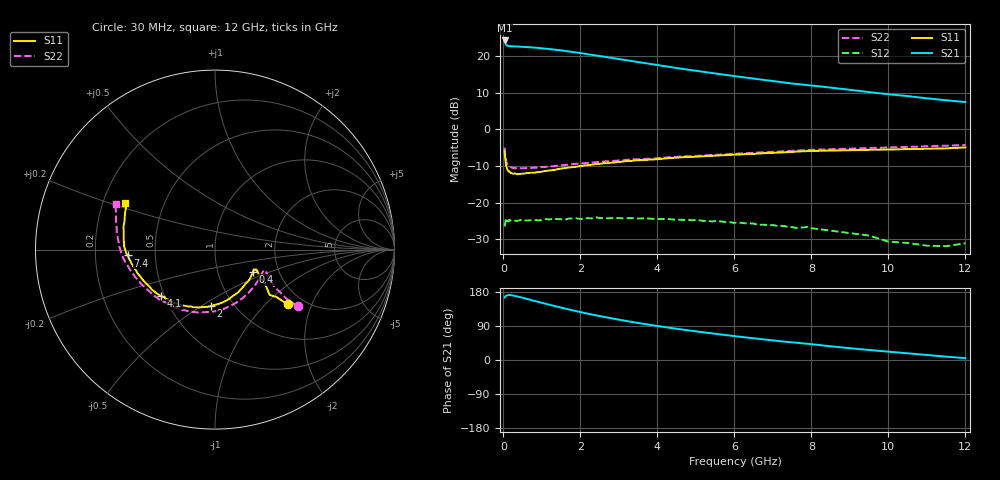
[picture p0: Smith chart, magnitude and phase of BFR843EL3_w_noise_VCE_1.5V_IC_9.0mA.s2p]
! Infineon Technologies  Discrete & RF Semiconductors
! BFR843EL3
! VCE =  1.5 V,  IC =  9.0 mA
! Common Emitter S-Parameters:  Aug 2013
# GHz  S  MA  R  50
!  f  S11  S21  S12  S22
! GHz  MAG  ANG  MAG  ANG  MAG  ANG  MAG  ANG
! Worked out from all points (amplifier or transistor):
!   103 points, 30 MHz to 12 GHz, reference 50 ohm
!   highest |S21| = 24.2 dB at 30 MHz (marker M1)
!   |S21| within 3 dB of that: start of sweep to 1.704 GHz
!   unconditionally stable (mu >= 1): 5.697 GHz to end of sweep
!   at 400 MHz: K = 0.99, MSG = 23.7 dB, |S12| = -24.9 dB
!   at 3.7 GHz: K = 0.84, MSG = 21.1 dB, |S12| = -24.3 dB
!   at 12 GHz: K = 3.23, MAG = 11.3 dB, |S12| = -31.1 dB
!   lowest NFmin = 0.88 dB at 450 MHz
!   S11 on the Smith chart (normalised r, x): 30 MHz: 1.66, -1.36; 400 MHz: 1.48, -0.39; 2 GHz: 0.79, -0.55; 4.1 GHz: 0.48, -0.30; 7.4 GHz: 0.34, -0.03; 12 GHz: 0.29, +0.23
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0.03  0.5065 -37.0  16.2 165.0  0.0473 31.1  0.5601 -34.4
0.04  0.4304 -37.7  15.3 166.2  0.0513 24.6  0.4781 -34.5
0.06  0.3386 -34.3  14.34 168.6  0.0596 18.1  0.3929 -32.4
0.09  0.293 -31.0  13.88 170.5  0.0568 11.5  0.3426 -27.6
0.13  0.2662 -27.7  13.65 171.3  0.0558 7.2  0.3151 -24.2
0.2  0.2528 -25.7  13.51 171.0  0.0567 5.6  0.3031 -22.5
0.4  0.2463 -30.4  13.36 166.7  0.0572 4.0  0.295 -27.0
0.8  0.2554 -47.9  12.95 156.0  0.0581 3.3  0.2987 -43.6
1.2  0.2742 -65.8  12.35 145.7  0.059 1.8  0.3113 -60.5
1.5  0.2912 -77.8  11.87 138.2  0.0593 -0.1  0.3222 -72.0
2  0.3152 -94.2  10.91 126.5  0.0596 -0.1  0.3428 -88.5
2.1  0.3218 -97.2  10.71 124.2  0.0608 0.3  0.3454 -91.9
2.6  0.3436 -110.7  9.766 113.9  0.0614 -1.9  0.3629 -105.1
3.2  0.3672 -123.7  8.711 102.8  0.0613 -4.0  0.3831 -118.4
3.8  0.386 -134.4  7.776 92.8  0.0605 -7.3  0.3978 -129.7
4.1  0.3956 -138.9  7.359 88.3  0.0598 -8.2  0.4063 -134.2
5.1  0.4252 -153.1  6.157 74.2  0.0573 -11.3  0.435 -148.3
6.1  0.4527 -163.8  5.21 61.9  0.0541 -14.5  0.4657 -159.6
7.4  0.4875 -176.2  4.26 47.4  0.0463 -14.6  0.505 -172.2
8.5  0.5124 173.4  3.69 36.2  0.0415 -18.0  0.5347 177.7
10.5  0.5355 159.9  2.828 17.7  0.0282 -5.4  0.5749 163.6
12  0.5662 152.4  2.347 4.9  0.0279 22.5  0.6093 155.3
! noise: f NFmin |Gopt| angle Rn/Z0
0.45  0.88  0.07  46  0.12
0.9  0.9  0.08  59  0.12
1.5  0.92  0.09  69  0.12
1.9  0.94  0.09  73  0.12
2.4  0.95  0.1  86  0.12
3.5  0.99  0.12  103  0.12
5.5  1.05  0.17  137  0.11
8  1.12  0.28  173  0.08
10  1.18  0.4  211  0.06
